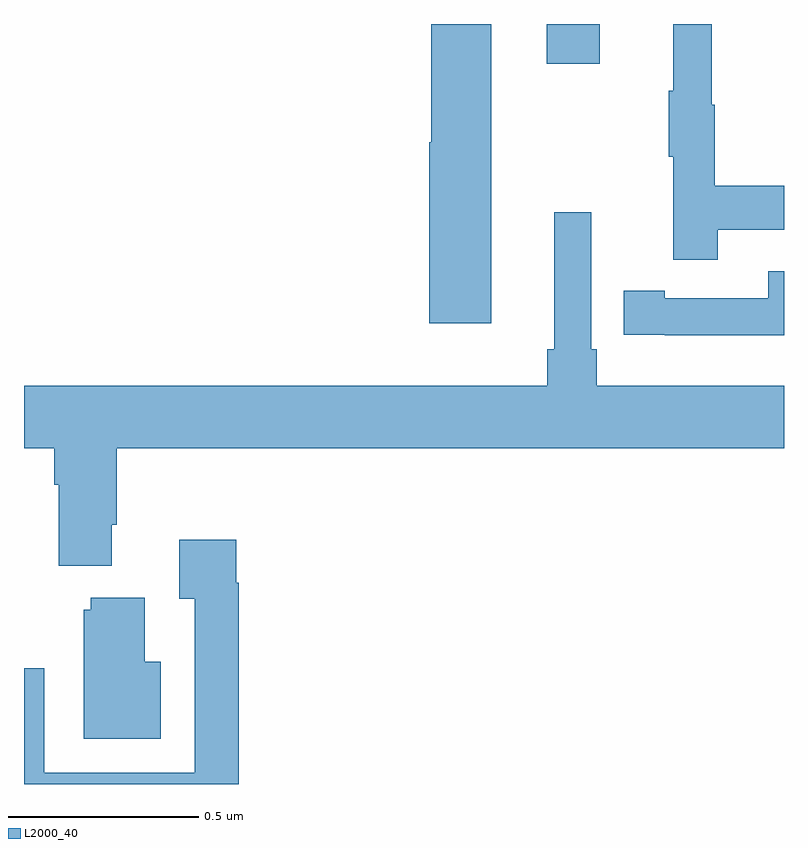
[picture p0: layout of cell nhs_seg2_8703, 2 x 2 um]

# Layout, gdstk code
import gdstk
lib = gdstk.Library(unit=1e-6, precision=1e-09)
def R(c, l, rs):  # rectangles x0, y0, x1, y1
    for r in rs: c.add(gdstk.rectangle(r[:2], r[2:], *l))
def P(c, l, *ps):  # polygons
    for p in ps: c.add(gdstk.Polygon(p, *l))
L2000_40 = (2000, 40)

nhs_seg2_8703 = lib.new_cell('nhs_seg2_8703')
R(nhs_seg2_8703, L2000_40, [(221.375,600.696,221.515,600.8)])
P(nhs_seg2_8703, L2000_40, [(221.23,600.8),(221.072,600.8),(221.072,600.489),(221.066,600.489),(221.066,600.012),(221.23,600.012)],
  [(221.825,600.258),(222,600.258),(222,600.374),(221.818,600.374),(221.818,600.588),(221.81,600.588),(221.81,600.8),(221.708,600.8),(221.708,600.625),(221.697,600.625),(221.697,600.451),(221.708,600.451),(221.708,600.18),(221.825,600.18)],
  [(220.231,599.482),(220.244,599.482),(220.244,599.684),(222,599.684),(222,599.848),(221.507,599.848),(221.507,599.944),(221.493,599.944),(221.493,600.304),(221.396,600.304),(221.396,599.944),(221.377,599.944),(221.377,599.848),(220,599.848),(220,599.684),(220.079,599.684),(220.079,599.588),(220.091,599.588),(220.091,599.375),(220.231,599.375)],
  [(222,600.15),(221.958,600.15),(221.958,600.078),(221.686,600.078),(221.686,600.098),(221.578,600.098),(221.578,599.982),(221.686,599.982),(221.686,599.981),(222,599.981)],
  [(220.565,599.33),(220.558,599.33),(220.558,599.443),(220.409,599.443),(220.409,599.287),(220.449,599.287),(220.449,598.83),(220.053,598.83),(220.053,599.104),(220,599.104),(220,598.8),(220.565,598.8)],
  [(220.36,599.122),(220.318,599.122),(220.318,599.29),(220.175,599.29),(220.175,599.259),(220.157,599.259),(220.157,598.919),(220.36,598.919)])

lib.write_gds('nhs_seg2_8703.gds')
